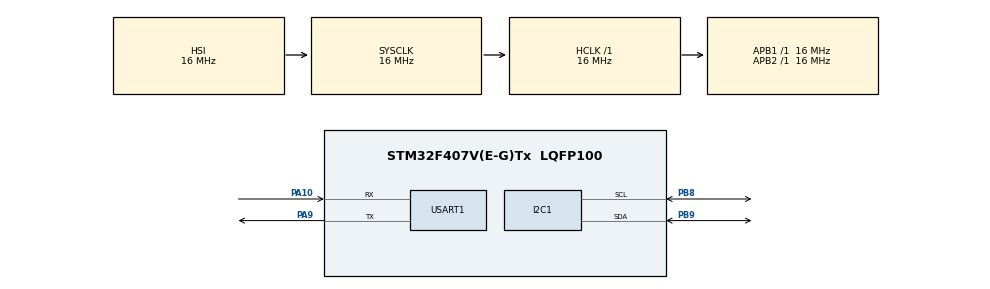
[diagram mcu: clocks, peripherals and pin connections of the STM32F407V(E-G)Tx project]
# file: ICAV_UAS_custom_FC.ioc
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Mcu.Family=STM32F4
Mcu.Name=STM32F407V(E-G)Tx
Mcu.Package=LQFP100
NVIC.PriorityGroup=NVIC_PRIORITYGROUP_4
PA10.Mode=Asynchronous
PA10.Signal=USART1_RX
PA9.Mode=Asynchronous
PA9.Signal=USART1_TX
PB8.Mode=I2C
PB8.Signal=I2C1_SCL
PB9.Mode=I2C
PB9.Signal=I2C1_SDA
ProjectManager.HeapSize=0x200
ProjectManager.StackSize=0x400
ProjectManager.TargetToolchain=CMake
RCC.AHBFreq_Value=16000000
RCC.APB1Freq_Value=16000000
RCC.APB2Freq_Value=16000000
RCC.CortexFreq_Value=16000000
RCC.HSE_VALUE=25000000
RCC.HSI_VALUE=16000000
RCC.LSE_VALUE=32768
RCC.SYSCLKFreq_VALUE=16000000
RCC.VCOOutputFreq_Value=192000000
USART1.VirtualMode=VM_ASYNC
board=custom

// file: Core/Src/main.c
/* USER CODE BEGIN Header */
/**
  ******************************************************************************
  * @file           : main.c
  * @brief          : Main program body
  ******************************************************************************
  * @attention
  *
  * Copyright (c) 2026 STMicroelectronics.
  * All rights reserved.
  *
  * This software is licensed under terms that can be found in the LICENSE file
  * in the root directory of this software component.
  * If no LICENSE file comes with this software, it is provided AS-IS.
  *
  ******************************************************************************
  */
/* USER CODE END Header */
#include "main.h"

/* USER CODE BEGIN Includes */
#include "PID.h"
#include "altitudeControl.h"
#include "rateControl.h"
#include "positionControl.h"
#include "attitudeControl.h"
#include "i2c_IMU.h"
#include "stm32f4xx_hal_gpio.h"
/* USER CODE END Includes */

I2C_HandleTypeDef hi2c1;

UART_HandleTypeDef huart1;

void SystemClock_Config(void);
static void MX_GPIO_Init(void);
static void MX_I2C1_Init(void);
static void MX_USART1_UART_Init(void);

/* USER CODE BEGIN 0 */
int _write(int file, char *ptr, int len){
  HAL_UART_Transmit(&huart1, (uint8_t*)ptr, len, HAL_MAX_DELAY);
  return len;
}
/* USER CODE END 0 */

int main(void)
{

  /* MCU Configuration--------------------------------------------------------*/

  /* Reset of all peripherals, Initializes the Flash interface and the Systick. */
  HAL_Init();

  /* Configure the system clock */
  SystemClock_Config();

  /* Initialize all configured peripherals */
  MX_GPIO_Init();
  MX_I2C1_Init();
  MX_USART1_UART_Init();
  /* USER CODE BEGIN 2 */
  i2cImuInit();

  /* USER CODE END 2 */

  /* Infinite loop */
  while (1)
  {

  }
}

void SystemClock_Config(void)
{
  RCC_OscInitTypeDef RCC_OscInitStruct = {0};
  RCC_ClkInitTypeDef RCC_ClkInitStruct = {0};

  /** Configure the main internal regulator output voltage
  */
  __HAL_RCC_PWR_CLK_ENABLE();
  __HAL_PWR_VOLTAGESCALING_CONFIG(PWR_REGULATOR_VOLTAGE_SCALE1);

  /** Initializes the RCC Oscillators according to the specified parameters
  * in the RCC_OscInitTypeDef structure.
  */
  RCC_OscInitStruct.OscillatorType = RCC_OSCILLATORTYPE_HSI;
  RCC_OscInitStruct.HSIState = RCC_HSI_ON;
  RCC_OscInitStruct.HSICalibrationValue = RCC_HSICALIBRATION_DEFAULT;
  RCC_OscInitStruct.PLL.PLLState = RCC_PLL_NONE;
  if (HAL_RCC_OscConfig(&RCC_OscInitStruct) != HAL_OK)
  {
    Error_Handler();
  }

  /** Initializes the CPU, AHB and APB buses clocks
  */
  RCC_ClkInitStruct.ClockType = RCC_CLOCKTYPE_HCLK|RCC_CLOCKTYPE_SYSCLK
                              |RCC_CLOCKTYPE_PCLK1|RCC_CLOCKTYPE_PCLK2;
  RCC_ClkInitStruct.SYSCLKSource = RCC_SYSCLKSOURCE_HSI;
  RCC_ClkInitStruct.AHBCLKDivider = RCC_SYSCLK_DIV1;
  RCC_ClkInitStruct.APB1CLKDivider = RCC_HCLK_DIV1;
  RCC_ClkInitStruct.APB2CLKDivider = RCC_HCLK_DIV1;

  if (HAL_RCC_ClockConfig(&RCC_ClkInitStruct, FLASH_LATENCY_0) != HAL_OK)
  {
    Error_Handler();
  }
}

static void MX_I2C1_Init(void)
{

  hi2c1.Instance = I2C1;
  hi2c1.Init.ClockSpeed = 100000;
  hi2c1.Init.DutyCycle = I2C_DUTYCYCLE_2;
  hi2c1.Init.OwnAddress1 = 0;
  hi2c1.Init.AddressingMode = I2C_ADDRESSINGMODE_7BIT;
  hi2c1.Init.DualAddressMode = I2C_DUALADDRESS_DISABLE;
  hi2c1.Init.OwnAddress2 = 0;
  hi2c1.Init.GeneralCallMode = I2C_GENERALCALL_DISABLE;
  hi2c1.Init.NoStretchMode = I2C_NOSTRETCH_DISABLE;
  if (HAL_I2C_Init(&hi2c1) != HAL_OK)
  {
    Error_Handler();
  }

}

static void MX_USART1_UART_Init(void)
{

  huart1.Instance = USART1;
  huart1.Init.BaudRate = 115200;
  huart1.Init.WordLength = UART_WORDLENGTH_8B;
  huart1.Init.StopBits = UART_STOPBITS_1;
  huart1.Init.Parity = UART_PARITY_NONE;
  huart1.Init.Mode = UART_MODE_TX_RX;
  huart1.Init.HwFlowCtl = UART_HWCONTROL_NONE;
  huart1.Init.OverSampling = UART_OVERSAMPLING_16;
  if (HAL_UART_Init(&huart1) != HAL_OK)
  {
    Error_Handler();
  }

}

static void MX_GPIO_Init(void)
{

  /* GPIO Ports Clock Enable */
  __HAL_RCC_GPIOA_CLK_ENABLE();
  __HAL_RCC_GPIOB_CLK_ENABLE();

  /* USER CODE BEGIN MX_GPIO_Init_2 */
  GPIO_InitTypeDef GPIO_InitStruct = {0};
  GPIO_InitStruct.Pin   = GPIO_PIN_6; // PA6, PA7 = onboard LEDs
  GPIO_InitStruct.Mode  = GPIO_MODE_OUTPUT_PP;      // Push-pull output
  GPIO_InitStruct.Pull  = GPIO_NOPULL;
  GPIO_InitStruct.Speed = GPIO_SPEED_FREQ_LOW;
  HAL_GPIO_Init(GPIOA, &GPIO_InitStruct);
  /* USER CODE END MX_GPIO_Init_2 */
}

void Error_Handler(void)
{
  __disable_irq();
  while (1)
  {
  }
}
